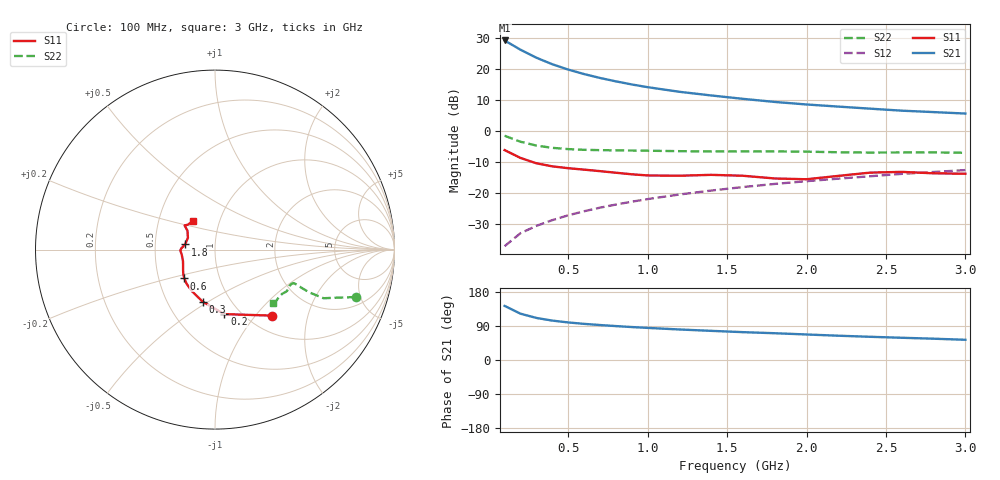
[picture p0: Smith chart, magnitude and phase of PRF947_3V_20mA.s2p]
! Filename:  PRF947G.S2P  Version:  3.0
! Philips part #:  PRF947  Date:  Nov 1998
! Bias condition:  Vce=3V, Ic=20mA
#  MHz  S  MA  R 50
! Freq  S11  S21  S12  S22  :
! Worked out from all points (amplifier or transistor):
!   20 points, 100 MHz to 3 GHz, reference 50 ohm
!   highest |S21| = 29.1 dB at 100 MHz (marker M1)
!   |S21| within 3 dB of that: start of sweep to 200.4 MHz
!   unconditionally stable (mu >= 1): 684.5 MHz to end of sweep
!   at 400 MHz: K = 0.90, MSG = 25.1 dB, |S12| = -28.9 dB
!   at 1.2 GHz: K = 1.07, MAG = 15.0 dB, |S12| = -20.6 dB
!   at 3 GHz: K = 1.04, MAG = 7.9 dB, |S12| = -12.7 dB
!   S11 on the Smith chart (normalised r, x): 100 MHz: 1.27, -1.22; 200 MHz: 0.84, -0.70; 300 MHz: 0.74, -0.47; 600 MHz: 0.68, -0.23; 1.8 GHz: 0.71, +0.04; 3 GHz: 0.75, +0.25
100  0.4853 -49.3  28.49 142.8  0.0137 72.4  0.8276 -18.6
200  0.3632 -81.8  20.19 122.2  0.0222 68.5  0.6624 -24.1
300  0.2976 -103.5  15 111.0  0.02914 69.5  0.5741 -24.4
400  0.2655 -118.6  11.78 104.0  0.03602 71.3  0.5281 -23.8
500  0.248 -129.3  9.661 99.1  0.04307 73.0  0.5038 -23.4
600  0.2351 -136.8  8.179 95.4  0.05012 74.4  0.4909 -23.2
700  0.2223 -142.7  7.079 92.3  0.05723 75.5  0.4847 -23.1
800  0.2096 -148.1  6.239 89.5  0.06427 76.3  0.4812 -23.1
900  0.1978 -154.0  5.563 87.0  0.07148 77.0  0.4781 -23.1
1000  0.1894 -160.4  5.026 84.7  0.0787 77.5  0.4748 -23.2
1200  0.1874 -171.9  4.234 80.6  0.09334 77.9  0.4666 -24.2
1400  0.1937 -178.6  3.695 76.9  0.1081 78.1  0.4615 -26.2
1600  0.1873 177.7  3.258 73.5  0.1232 78.2  0.4622 -28.3
1800  0.1693 170.3  2.904 70.7  0.1382 78.0  0.4629 -29.8
2000  0.1644 156.6  2.643 67.3  0.1531 77.8  0.458 -31.1
2200  0.1863 145.5  2.443 64.1  0.1681 77.5  0.4485 -33.3
2400  0.2103 142.2  2.263 61.2  0.1839 77.0  0.4431 -36.3
2600  0.2163 141.5  2.099 58.7  0.2009 76.4  0.445 -39.2
2800  0.2051 137.4  1.991 56.2  0.2154 76.2  0.4456 -41.0
3000  0.2018 127.3  1.886 53.3  0.2313 75.8  0.4394 -42.8
